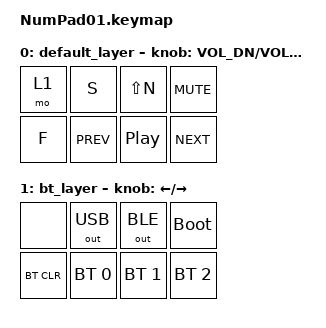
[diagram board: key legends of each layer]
/*
 * Copyright (c) 2022 The ZMK Contributors
 *
 * SPDX-License-Identifier: MIT
 */

#include <behaviors.dtsi>
#include <dt-bindings/zmk/keys.h>
#include <dt-bindings/zmk/bt.h>
#include <dt-bindings/zmk/outputs.h>

/ {
    keymap {
        compatible = "zmk,keymap";

        default_layer {
            /*
                ╭────────────┬──────┬─────────┬──────╮      Encoder:
                │     M0     │ Skip │ Next Ep │ Mute │          Right   Vol+
                ├────────────┼──────┼─────────┼──────┤          Left    Vol-
                │ Fullscreen │ Prev │  Play   │ Next │
                ╰────────────┴──────┴─────────┴──────╯
            */
            bindings = <
                &mo 1             &kp S         &kp LS(N)       &kp C_MUTE
                &kp F             &kp C_PREV    &kp C_PP        &kp C_NEXT
            >;
            sensor-bindings = <&inc_dec_kp C_VOL_DN C_VOL_UP>;
        };

        bt_layer {
            /*
                ╭────────────┬─────────┬─────────┬────────────╮      Encoder:
                │    None    │ USB Out │ BLT Out │ Bootloader │          Right   Roll Forward
                ├────────────┼─────────┼─────────┼────────────┤          Left    Roll Backward
                │  BLT Clear │  BLT 0  │  BLT 1  │    BLT 2   │
                ╰────────────┴─────────┴─────────┴────────────╯
            */
            bindings = <
                &none              &out OUT_USB   &out OUT_BLE    &bootloader
                &bt BT_CLR         &bt BT_SEL 0   &bt BT_SEL 1    &bt BT_SEL 2
            >;
            sensor-bindings = <&inc_dec_kp LEFT RIGHT>;
            //sensor-bindings = <&inc_dec_kp C_REWIND C_FAST_FORWARD>; // doesn't work
        };
    };
};
